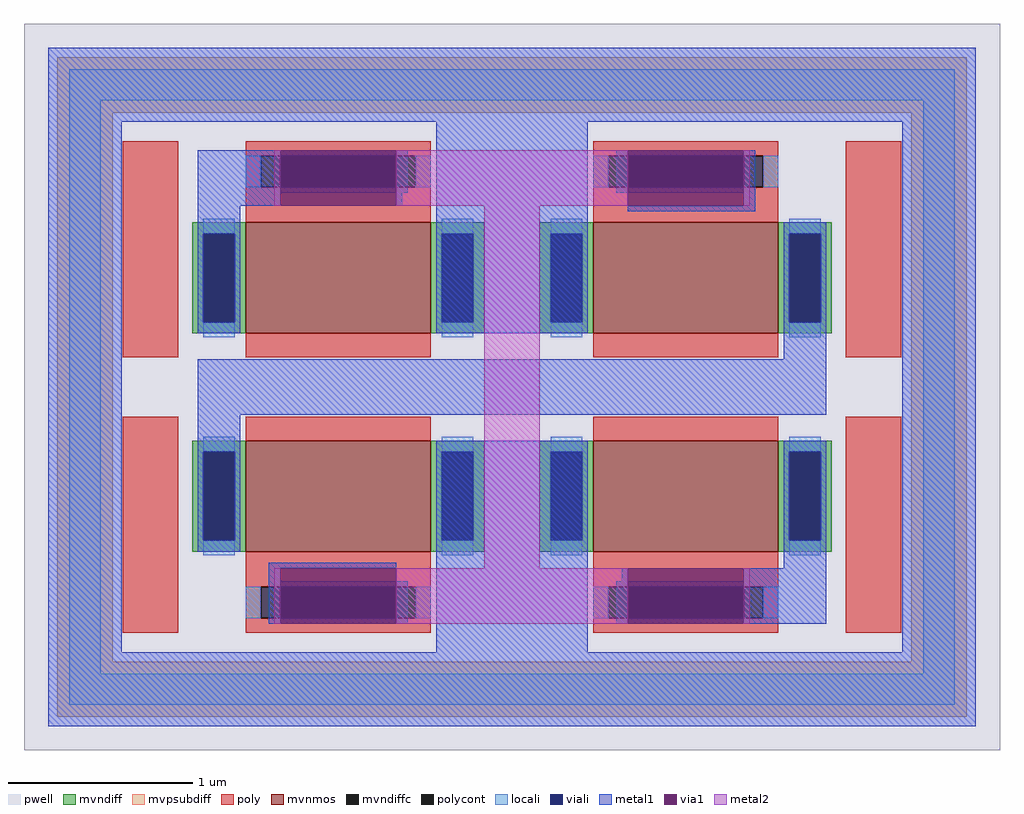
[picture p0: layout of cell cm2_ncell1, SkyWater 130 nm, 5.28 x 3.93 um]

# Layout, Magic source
magic
tech sky130A
magscale 1 2
<< pwell >>
rect 2714 1591 3770 2377
<< mvpsubdiff >>
rect 2750 1973 2810 1995
rect 3674 1973 3734 1995
<< locali >>
rect 2763 1973 2797 1995
rect 3687 1973 3721 1995
<< metal1 >>
rect 3536 2014 3582 2042
rect 2740 1973 2820 1995
rect 2902 1954 3582 2014
rect 3664 1973 3744 1995
rect 2902 1926 2948 1954
<< metal2 >>
rect 3212 1728 3272 2240
use cm2_ncell1_cell  cm2_ncell1_cell_0
transform 1 0 985 0 1 1198
box 1755 797 2759 1153
use cm2_ncell1_cell  cm2_ncell1_cell_1
transform -1 0 5499 0 -1 2770
box 1755 797 2759 1153
<< end >>

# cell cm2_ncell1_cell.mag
magic
tech sky130A
magscale 1 2
<< mvpsubdiff >>
rect 1765 1083 2749 1143
rect 1765 797 1825 1083
rect 2689 797 2749 1083
<< poly >>
rect 1836 818 1896 1052
rect 2618 818 2678 1052
<< locali >>
rect 1778 1096 2736 1130
rect 1778 797 1812 1096
rect 2702 797 2736 1096
<< metal1 >>
rect 1755 1073 2759 1153
rect 1755 797 1835 1073
rect 1917 1018 2000 1042
rect 1917 982 2006 1018
rect 2132 982 2138 1018
rect 1917 964 1963 982
rect 2175 844 2339 1073
rect 2508 982 2520 1012
rect 2382 976 2520 982
rect 2679 797 2759 1073
<< via1 >>
rect 2006 982 2132 1042
rect 2382 982 2508 1042
<< metal2 >>
rect 2000 982 2006 1042
rect 2132 982 2382 1042
rect 2508 982 2514 1042
use sky130_fd_pr__nfet_g5v0d10v5_QKV39N  sky130_fd_pr__nfet_g5v0d10v5_QKV39N_0 ~/10-bit-DAC/mag
transform 1 0 2069 0 1 935
box -158 -117 158 117
use sky130_fd_pr__nfet_g5v0d10v5_QKV39N  sky130_fd_pr__nfet_g5v0d10v5_QKV39N_1
transform 1 0 2445 0 1 935
box -158 -117 158 117
<< end >>

# cell sky130_fd_pr__nfet_g5v0d10v5_QKV39N: kit device sky130_fd_pr__nfet_g5v0d10v5, w 0.6 l 1 m 1 nf 1 diffcov 100 polycov 100 guard 0 glc 1 grc 1 gtc 1 gbc 1 tbcov 100 rlcov 100 topc 1 botc 0 poverlap 0 doverlap 1 lmin 0.50 wmin 0.42 compatible {sky130_fd_pr__nfet_01v8 sky130_fd_pr__nfet_01v8_lvt sky130_fd_bs_flash__special_sonosfet_star sky130_fd_pr__nfet_g5v0d10v5 sky130_fd_pr__nfet_05v0_nvt sky130_fd_pr__nfet_03v3_nvt} full_metal 1 viasrc 100 viadrn 100 viagate 75 viagb 0 viagr 0 viagl 0 viagt 0
